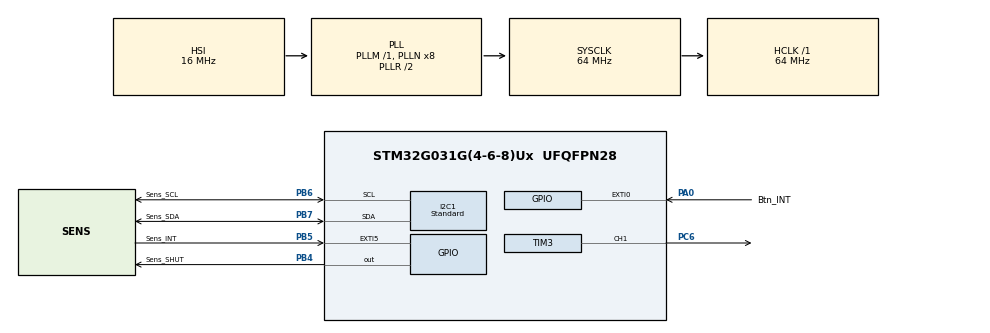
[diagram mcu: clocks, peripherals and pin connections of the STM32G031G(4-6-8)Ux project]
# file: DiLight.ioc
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I2C1.I2C_Speed_Mode=I2C_Standard
I2C1.Timing=0x10707DBC
Mcu.Family=STM32G0
Mcu.Name=STM32G031G(4-6-8)Ux
Mcu.Package=UFQFPN28
NVIC.EXTI0_1_IRQn=true\:0\:0\:false\:false\:true\:true\:true\:true
NVIC.EXTI4_15_IRQn=true\:0\:0\:false\:false\:true\:true\:true\:true
NVIC.TIM16_IRQn=true\:0\:0\:false\:false\:true\:true\:true\:true
NVIC.TIM17_IRQn=true\:0\:0\:false\:false\:true\:true\:true\:true
PA0.GPIO_Label=Btn_INT
PA0.GPIO_ModeDefaultEXTI=GPIO_MODE_IT_RISING_FALLING
PA0.Signal=GPXTI0
PA13.Mode=Serial_Wire
PA13.Signal=SYS_SWDIO
PA14-BOOT0.Mode=Serial_Wire
PA14-BOOT0.Signal=SYS_SWCLK
PB4.GPIO_Label=Sens_SHUT
PB4.GPIO_PuPd=GPIO_PULLUP
PB4.GPIO_Speed=GPIO_SPEED_FREQ_HIGH
PB4.PinState=GPIO_PIN_SET
PB4.Signal=GPIO_Output
PB5.GPIO_Label=Sens_INT
PB5.GPIO_ModeDefaultEXTI=GPIO_MODE_IT_FALLING
PB5.Signal=GPXTI5
PB6.GPIO_Label=Sens_SCL
PB6.Mode=I2C
PB6.Signal=I2C1_SCL
PB7.GPIO_Label=Sens_SDA
PB7.Mode=I2C
PB7.Signal=I2C1_SDA
PC6.Signal=S_TIM3_CH1
ProjectManager.HeapSize=0x200
ProjectManager.StackSize=0x400
ProjectManager.TargetToolchain=STM32CubeIDE
RCC.ADCFreq_Value=64000000
RCC.AHBFreq_Value=64000000
RCC.CortexFreq_Value=64000000
RCC.EXTERNAL_CLOCK_VALUE=12288000
RCC.HCLKFreq_Value=64000000
RCC.HSE_VALUE=8000000
RCC.HSI_VALUE=16000000
RCC.LSE_VALUE=32768
RCC.SYSCLKFreq_VALUE=64000000
RCC.SYSCLKSource=RCC_SYSCLKSOURCE_PLLCLK
RCC.VCOOutputFreq_Value=128000000
SH.S_TIM3_CH1.0=TIM3_CH1,PWM Generation1 CH1
TIM16.Period=10000-1
TIM16.Prescaler=640-1
TIM17.AutoReloadPreload=TIM_AUTORELOAD_PRELOAD_ENABLE
TIM17.Period=3000-1
TIM17.Prescaler=320-1
TIM3.Channel-PWM\ Generation1\ CH1=TIM_CHANNEL_1
TIM3.Period=100-1
TIM3.Prescaler=20-1
TIM3.Pulse-PWM\ Generation1\ CH1=0
VP_CRC_VS_CRC.Mode=CRC_Activate
VP_TIM16_VS_ClockSourceINT.Mode=Enable_Timer
VP_TIM17_VS_ClockSourceINT.Mode=Enable_Timer
VP_TIM3_VS_ClockSourceINT.Mode=Internal
board=custom

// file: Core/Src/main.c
/* USER CODE BEGIN Header */
/**
  ******************************************************************************
  * @file           : main.c
  * @brief          : Main program body
  ******************************************************************************
  * @attention
  *
  * Copyright (c) 2022 STMicroelectronics.
  * All rights reserved.
  *
  * This software is licensed under terms that can be found in the LICENSE file
  * in the root directory of this software component.
  * If no LICENSE file comes with this software, it is provided AS-IS.
  *
  ******************************************************************************
  */
/* USER CODE END Header */
#include "main.h"

/* USER CODE BEGIN Includes */
#include "string.h"
#include "stdio.h"
#include "VL53L0X.h"
/* USER CODE END Includes */

/* USER CODE BEGIN PTD */

//Configuration structure to keep in last (31) page of FLASH
typedef struct {
	uint32_t token;			//CONF_TOKEN
	uint16_t dist_on;		//distance to turn on lights
	uint16_t dist_off;	//distance to turn off lights
} conf_t;
struct FLASH_sector {
	uint8_t  data[8];		//Config data
	uint32_t counter;		//Configuration write counter
	uint32_t checksum;	//Checksum to verify saved data
};

typedef enum DLMode_t_enum {
	DL_normal = 0,
	DL_manual_on,
	DL_manual_off,
	DL_need_config,
	DL_config_waiting,
	DL_config_accepted,
	DL_error
} DLMode_t;

/* USER CODE END PTD */

/* USER CODE BEGIN PD */

#define DEFAULT_DIST_ON		500											//Default lights on distance
#define DEFAULT_DIST_OFF	1000										//Default lights off distance
#define MIN_DIST_GAP			100											//Min gap between on and off distances
#define MAX_DIST					1400										//Max distance that could be reliably measured by the sensor

#define CONF_TOKEN				0x000A0200							//32bit token to check the configuration struct in the FLASH (000A - DiLight; rev2.0)
#define CONF_FLASH_ADDR 	((uint32_t)0x0800F800)	//FLASH address of the page to save configuration to
#define CONF_FLASH_PAGE 	31											//FLASH page number (from 0 to PgCount-1)

/* USER CODE END PD */

CRC_HandleTypeDef hcrc;

I2C_HandleTypeDef hi2c1;

TIM_HandleTypeDef htim3;
TIM_HandleTypeDef htim16;
TIM_HandleTypeDef htim17;

/* USER CODE BEGIN PV */

//volatile const uint8_t config_flash[1024 * 2] __attribute__((__section__(".conf_data")));

union FLASH_conf {
	  conf_t config;
	  struct FLASH_sector sector;
	  uint32_t data32[4];
	  uint64_t data64[2];
} configuration;
#define FLASH_CONF_SIZE 16

uint8_t  TOF_Ready = 0;							// Flag to ignore TOF IRQ before it is initialized
uint8_t  curLightLevel = 0;					// Current light level (0-99)
uint16_t curDist = 0;								// Current measured distance in mm
uint16_t btn_ticks;									// How many ticks the button is pressed (1 tick = 100ms)
int8_t   dLevel = 1;								// Direction of fade: -1 for fade out; 1 for fade in;
DLMode_t DLmode = DL_normal;				// Global mode: DL_normal, DL_manual_on, DL_manual_off, DL_need_config, DL_config_waiting, DL_config_accepted, DL_error
DLMode_t prev_mode = DL_normal;			// To hold the mode during temporary mode switches
uint8_t  modeSwitch = 0;						// Flag to switch the mode after the button tap

/* USER CODE END PV */

void SystemClock_Config(void);
static void MX_GPIO_Init(void);
static void MX_I2C1_Init(void);
static void MX_TIM3_Init(void);
static void MX_TIM17_Init(void);
static void MX_CRC_Init(void);
static void MX_TIM16_Init(void);
/* USER CODE BEGIN PFP */

volatile void loadConfig(void);							// Load configuration from the FLASH memory
volatile void saveConfig(void);							// Save configuration to the FLASH memory
volatile void setLightLevel(uint8_t level);	// Set the lights level (brightness) 0 - 99
void fastBlink(uint8_t count);							// Fast blink LEDs `count` times
void configure(void);												// Range configuration procedure (set on and off ranges)

/* USER CODE END PFP */

/* USER CODE BEGIN 0 */

//load configuration from FLASH
volatile void loadConfig(void) {
	uint32_t l_Address = CONF_FLASH_ADDR;
	uint32_t l_Index = 0;

	//Reading from FLASH
	while (l_Address < (CONF_FLASH_ADDR + FLASH_CONF_SIZE)) {
	  configuration.data64[l_Index] = *(__IO uint64_t *)l_Address;
	  l_Index += 1;
	  l_Address += 8;
	}

	//Calculate a hash from the configuration
	if (HAL_CRC_Calculate(&hcrc, configuration.data32, 2) != configuration.sector.checksum
			|| configuration.config.token != CONF_TOKEN) {
		//First start or configuration is corrupted
		saveConfig();  //Save dafault config
	} // else successfully read the configuration

}

//save configuration to FLASH
volatile void saveConfig(void) {
  static FLASH_EraseInitTypeDef EraseInitStruct;
  uint32_t l_Address = CONF_FLASH_ADDR;
  uint32_t l_Index = 0;
  uint32_t l_Error = 0;

  //We need it to erase a page
  EraseInitStruct.TypeErase = FLASH_TYPEERASE_PAGES;
  EraseInitStruct.Page      = CONF_FLASH_PAGE;
  EraseInitStruct.NbPages   = 1;

  if (configuration.config.token != CONF_TOKEN) {
	  //first start
	  //Nullify the struct
	  memset(configuration.data64, 0, sizeof(configuration.data64));
	  //set default values
	  configuration.config.token = CONF_TOKEN;
	  configuration.config.dist_on = DEFAULT_DIST_ON;
	  configuration.config.dist_off = DEFAULT_DIST_OFF;

	  configuration.sector.counter = 0;
  }

  // Check if the distances are good.
  // (1 max distance is respected. 2 min gap between on and off distances is respected)
  if (configuration.config.dist_off > MAX_DIST) configuration.config.dist_off = MAX_DIST;
  if (configuration.config.dist_off < MIN_DIST_GAP) configuration.config.dist_off = MIN_DIST_GAP;
  if (configuration.config.dist_on > configuration.config.dist_off - MIN_DIST_GAP) configuration.config.dist_on = configuration.config.dist_off - MIN_DIST_GAP;
  configuration.sector.counter += 1;
  configuration.sector.checksum = HAL_CRC_Calculate(&hcrc, configuration.data32, 2);

  HAL_FLASH_Unlock();															//Unlock the FLASH
  HAL_FLASHEx_Erase(&EraseInitStruct, &l_Error);	//Erase the page

  // Programming the config

  while (l_Address < (CONF_FLASH_ADDR + FLASH_CONF_SIZE)) {
	  if  (HAL_FLASH_Program(FLASH_TYPEPROGRAM_DOUBLEWORD, l_Address, configuration.data64[l_Index]) == HAL_OK) {
		  l_Index += 1;
		  l_Address += 8;
	  }
  }
  HAL_FLASH_Lock();
  HAL_Delay(50);
}

// Fast blink LEDs `count` times
void fastBlink(uint8_t count) {
	uint8_t i, pll;

	pll = curLightLevel;
	setLightLevel(0);
	for (i = 0; i < count; i++) {
		setLightLevel(99);
		HAL_Delay(80);
		setLightLevel(0);
		HAL_Delay(80);
	}
	setLightLevel(pll);
}

// Range configuration procedure (set on and off ranges)
void configure(void) {
	DLmode = DL_config_waiting;

	//Fast blink 5 times
	fastBlink(5);

	//Configure ON distance
	while (DLmode == DL_config_waiting) {
		HAL_Delay(250);
		if (curDist > MAX_DIST - MIN_DIST_GAP) setLightLevel(0);
		// (x - in_min) * (out_max - out_min) / (in_max - in_min) + out_min
		// (x - 0) * (50 - 0) / (1400 - 0) + 0
		// x * 50 / 1400
		// (99 - curDist * 99 / 2000)     //old version
		else setLightLevel((uint8_t)(50 - curDist * 50 / (MAX_DIST - MIN_DIST_GAP)));		// Map light level to the distance
	}
	configuration.config.dist_on = curDist;			// this will be checked during config save

	//Fast blink 2 times
	DLmode = DL_config_waiting;
	fastBlink(2);

	//Configure OFF distance
	while (DLmode == DL_config_waiting) {
		HAL_Delay(250);
		if (curDist > MAX_DIST) setLightLevel(0);
		else setLightLevel((uint8_t)(50 - curDist * 50 / MAX_DIST));		// Map light level to the distance
	}
	configuration.config.dist_off = curDist;		// this will be checked during config save

  saveConfig();

	//Fast blink 5 times
  fastBlink(5);
}

/* USER CODE END 0 */

int main(void)
{

  /* MCU Configuration--------------------------------------------------------*/

  /* Reset of all peripherals, Initializes the Flash interface and the Systick. */
  HAL_Init();

  /* Configure the system clock */
  SystemClock_Config();

  /* Initialize all configured peripherals */
  MX_GPIO_Init();
  MX_I2C1_Init();
  MX_TIM3_Init();
  MX_TIM17_Init();
  MX_CRC_Init();
  MX_TIM16_Init();
  /* USER CODE BEGIN 2 */

  // TIM3  - PWM timer
  // TIM16 - ticks timer (10Hz - 100ms)
  // TIM17 - timer for light fading

  loadConfig();

  // Set IO timeout for range sensor
  setTimeout(250);

  TOF_Ready = initVL53L0X(1);
  if (TOF_Ready) {
		// lower the return signal rate limit (default is 0.25 MCPS)
		// setSignalRateLimit(0.1);
		// increase laser pulse periods (defaults are 14 and 10 PCLKs)
		// setVcselPulsePeriod(VcselPeriodPreRange, 18);
		// setVcselPulsePeriod(VcselPeriodFinalRange, 14);
		setMeasurementTimingBudget( 500 * 1000UL );		// integrate over 500 ms per measurement

		// Start measurements every second
		startContinuous(1000);
  }
  HAL_TIM_PWM_Start(&htim3, TIM_CHANNEL_1);

  // Fast-blink 10 times to indicate range sensor error
	if (!TOF_Ready) {
		fastBlink(10);
	}

  /* USER CODE END 2 */

  /* Infinite loop */
  /* USER CODE BEGIN WHILE */
  while (1)
  {
  	if (DLmode == DL_need_config) {
  		configure();
  		DLmode = prev_mode;
  	}

  	// Check if the button was tapped and we should switch the mode
  	if (modeSwitch) {
  		modeSwitch = 0;
  		switch (DLmode) {
				case DL_normal:
					DLmode = DL_manual_on;
					fastBlink(1);
					dLevel = 2;
					HAL_TIM_Base_Start_IT(&htim17);
					break;
				case DL_manual_on:
					DLmode = DL_manual_off;
					fastBlink(1);
					dLevel = -1;
					HAL_TIM_Base_Start_IT(&htim17);
					break;
				case DL_manual_off:
					DLmode = DL_normal;
					fastBlink(2);
					break;
				default:
					break;
			}
		}

  	HAL_Delay(50);
    /* USER CODE END WHILE */

  }
}

void SystemClock_Config(void)
{
  RCC_OscInitTypeDef RCC_OscInitStruct = {0};
  RCC_ClkInitTypeDef RCC_ClkInitStruct = {0};

  /** Configure the main internal regulator output voltage
  */
  HAL_PWREx_ControlVoltageScaling(PWR_REGULATOR_VOLTAGE_SCALE1);

  /** Initializes the RCC Oscillators according to the specified parameters
  * in the RCC_OscInitTypeDef structure.
  */
  RCC_OscInitStruct.OscillatorType = RCC_OSCILLATORTYPE_HSI;
  RCC_OscInitStruct.HSIState = RCC_HSI_ON;
  RCC_OscInitStruct.HSIDiv = RCC_HSI_DIV1;
  RCC_OscInitStruct.HSICalibrationValue = RCC_HSICALIBRATION_DEFAULT;
  RCC_OscInitStruct.PLL.PLLState = RCC_PLL_ON;
  RCC_OscInitStruct.PLL.PLLSource = RCC_PLLSOURCE_HSI;
  RCC_OscInitStruct.PLL.PLLM = RCC_PLLM_DIV1;
  RCC_OscInitStruct.PLL.PLLN = 8;
  RCC_OscInitStruct.PLL.PLLP = RCC_PLLP_DIV2;
  RCC_OscInitStruct.PLL.PLLQ = RCC_PLLQ_DIV2;
  RCC_OscInitStruct.PLL.PLLR = RCC_PLLR_DIV2;
  if (HAL_RCC_OscConfig(&RCC_OscInitStruct) != HAL_OK)
  {
    Error_Handler();
  }

  /** Initializes the CPU, AHB and APB buses clocks
  */
  RCC_ClkInitStruct.ClockType = RCC_CLOCKTYPE_HCLK|RCC_CLOCKTYPE_SYSCLK
                              |RCC_CLOCKTYPE_PCLK1;
  RCC_ClkInitStruct.SYSCLKSource = RCC_SYSCLKSOURCE_PLLCLK;
  RCC_ClkInitStruct.AHBCLKDivider = RCC_SYSCLK_DIV1;
  RCC_ClkInitStruct.APB1CLKDivider = RCC_HCLK_DIV1;

  if (HAL_RCC_ClockConfig(&RCC_ClkInitStruct, FLASH_LATENCY_2) != HAL_OK)
  {
    Error_Handler();
  }
}

static void MX_CRC_Init(void)
{

  hcrc.Instance = CRC;
  hcrc.Init.DefaultPolynomialUse = DEFAULT_POLYNOMIAL_ENABLE;
  hcrc.Init.DefaultInitValueUse = DEFAULT_INIT_VALUE_ENABLE;
  hcrc.Init.InputDataInversionMode = CRC_INPUTDATA_INVERSION_NONE;
  hcrc.Init.OutputDataInversionMode = CRC_OUTPUTDATA_INVERSION_DISABLE;
  hcrc.InputDataFormat = CRC_INPUTDATA_FORMAT_BYTES;
  if (HAL_CRC_Init(&hcrc) != HAL_OK)
  {
    Error_Handler();
  }

}

static void MX_I2C1_Init(void)
{

  hi2c1.Instance = I2C1;
  hi2c1.Init.Timing = 0x10707DBC;
  hi2c1.Init.OwnAddress1 = 0;
  hi2c1.Init.AddressingMode = I2C_ADDRESSINGMODE_7BIT;
  hi2c1.Init.DualAddressMode = I2C_DUALADDRESS_DISABLE;
  hi2c1.Init.OwnAddress2 = 0;
  hi2c1.Init.OwnAddress2Masks = I2C_OA2_NOMASK;
  hi2c1.Init.GeneralCallMode = I2C_GENERALCALL_DISABLE;
  hi2c1.Init.NoStretchMode = I2C_NOSTRETCH_DISABLE;
  if (HAL_I2C_Init(&hi2c1) != HAL_OK)
  {
    Error_Handler();
  }

  /** Configure Analogue filter
  */
  if (HAL_I2CEx_ConfigAnalogFilter(&hi2c1, I2C_ANALOGFILTER_ENABLE) != HAL_OK)
  {
    Error_Handler();
  }

  /** Configure Digital filter
  */
  if (HAL_I2CEx_ConfigDigitalFilter(&hi2c1, 0) != HAL_OK)
  {
    Error_Handler();
  }

}

static void MX_TIM3_Init(void)
{

  TIM_ClockConfigTypeDef sClockSourceConfig = {0};
  TIM_MasterConfigTypeDef sMasterConfig = {0};
  TIM_OC_InitTypeDef sConfigOC = {0};

  htim3.Instance = TIM3;
  htim3.Init.Prescaler = 20-1;
  htim3.Init.CounterMode = TIM_COUNTERMODE_UP;
  htim3.Init.Period = 100-1;
  htim3.Init.ClockDivision = TIM_CLOCKDIVISION_DIV1;
  htim3.Init.AutoReloadPreload = TIM_AUTORELOAD_PRELOAD_DISABLE;
  if (HAL_TIM_Base_Init(&htim3) != HAL_OK)
  {
    Error_Handler();
  }
  sClockSourceConfig.ClockSource = TIM_CLOCKSOURCE_INTERNAL;
  if (HAL_TIM_ConfigClockSource(&htim3, &sClockSourceConfig) != HAL_OK)
  {
    Error_Handler();
  }
  if (HAL_TIM_PWM_Init(&htim3) != HAL_OK)
  {
    Error_Handler();
  }
  sMasterConfig.MasterOutputTrigger = TIM_TRGO_RESET;
  sMasterConfig.MasterSlaveMode = TIM_MASTERSLAVEMODE_DISABLE;
  if (HAL_TIMEx_MasterConfigSynchronization(&htim3, &sMasterConfig) != HAL_OK)
  {
    Error_Handler();
  }
  sConfigOC.OCMode = TIM_OCMODE_PWM1;
  sConfigOC.Pulse = 0;
  sConfigOC.OCPolarity = TIM_OCPOLARITY_HIGH;
  sConfigOC.OCFastMode = TIM_OCFAST_DISABLE;
  if (HAL_TIM_PWM_ConfigChannel(&htim3, &sConfigOC, TIM_CHANNEL_1) != HAL_OK)
  {
    Error_Handler();
  }
  HAL_TIM_MspPostInit(&htim3);

}

static void MX_TIM16_Init(void)
{

  htim16.Instance = TIM16;
  htim16.Init.Prescaler = 640-1;
  htim16.Init.CounterMode = TIM_COUNTERMODE_UP;
  htim16.Init.Period = 10000-1;
  htim16.Init.ClockDivision = TIM_CLOCKDIVISION_DIV1;
  htim16.Init.RepetitionCounter = 0;
  htim16.Init.AutoReloadPreload = TIM_AUTORELOAD_PRELOAD_DISABLE;
  if (HAL_TIM_Base_Init(&htim16) != HAL_OK)
  {
    Error_Handler();
  }

}

static void MX_TIM17_Init(void)
{

  htim17.Instance = TIM17;
  htim17.Init.Prescaler = 320-1;
  htim17.Init.CounterMode = TIM_COUNTERMODE_UP;
  htim17.Init.Period = 3000-1;
  htim17.Init.ClockDivision = TIM_CLOCKDIVISION_DIV1;
  htim17.Init.RepetitionCounter = 0;
  htim17.Init.AutoReloadPreload = TIM_AUTORELOAD_PRELOAD_ENABLE;
  if (HAL_TIM_Base_Init(&htim17) != HAL_OK)
  {
    Error_Handler();
  }

}

static void MX_GPIO_Init(void)
{
  GPIO_InitTypeDef GPIO_InitStruct = {0};

  /* GPIO Ports Clock Enable */
  __HAL_RCC_GPIOA_CLK_ENABLE();
  __HAL_RCC_GPIOC_CLK_ENABLE();
  __HAL_RCC_GPIOB_CLK_ENABLE();

  /*Configure GPIO pin Output Level */
  HAL_GPIO_WritePin(Sens_SHUT_GPIO_Port, Sens_SHUT_Pin, GPIO_PIN_SET);

  /*Configure GPIO pin : Btn_INT_Pin */
  GPIO_InitStruct.Pin = Btn_INT_Pin;
  GPIO_InitStruct.Mode = GPIO_MODE_IT_RISING_FALLING;
  GPIO_InitStruct.Pull = GPIO_NOPULL;
  HAL_GPIO_Init(Btn_INT_GPIO_Port, &GPIO_InitStruct);

  /*Configure GPIO pin : Sens_SHUT_Pin */
  GPIO_InitStruct.Pin = Sens_SHUT_Pin;
  GPIO_InitStruct.Mode = GPIO_MODE_OUTPUT_PP;
  GPIO_InitStruct.Pull = GPIO_PULLUP;
  GPIO_InitStruct.Speed = GPIO_SPEED_FREQ_HIGH;
  HAL_GPIO_Init(Sens_SHUT_GPIO_Port, &GPIO_InitStruct);

  /*Configure GPIO pin : Sens_INT_Pin */
  GPIO_InitStruct.Pin = Sens_INT_Pin;
  GPIO_InitStruct.Mode = GPIO_MODE_IT_FALLING;
  GPIO_InitStruct.Pull = GPIO_NOPULL;
  HAL_GPIO_Init(Sens_INT_GPIO_Port, &GPIO_InitStruct);

  /* EXTI interrupt init*/
  HAL_NVIC_SetPriority(EXTI0_1_IRQn, 0, 0);
  HAL_NVIC_EnableIRQ(EXTI0_1_IRQn);

  HAL_NVIC_SetPriority(EXTI4_15_IRQn, 0, 0);
  HAL_NVIC_EnableIRQ(EXTI4_15_IRQn);

}

/* USER CODE BEGIN 4 */

volatile void setLightLevel(uint8_t level) {
	if (level > 99) level = 99;
	curLightLevel = level;

	TIM3->CCR1 = curLightLevel;
}

void HAL_GPIO_EXTI_Rising_Callback(uint16_t GPIO_Pin) {
	// Start counting "ticks" when the sense-button is pressed
	if (GPIO_Pin == Btn_INT_Pin) {
		btn_ticks = 0;
		HAL_TIM_Base_Start_IT(&htim16);
	}
}

void HAL_GPIO_EXTI_Falling_Callback(uint16_t GPIO_Pin) {
	uint16_t dist;

	// Range sensor interrupt (measurement is done)
	if (TOF_Ready && GPIO_Pin == Sens_INT_Pin) {
		dist = readRangeContinuousMillimeters(0);
		if (dist < MAX_DIST)	curDist = dist;
		else curDist = MAX_DIST;
		if (DLmode == DL_normal) {
			if (curDist <= configuration.config.dist_on && curLightLevel < 90) {
				//Turn on the lights
				dLevel = 2;
				HAL_TIM_Base_Start_IT(&htim17);
			}
			if (curDist >= configuration.config.dist_off && curLightLevel == 99) {
				//Turn off the lights
				dLevel = -1;
				HAL_TIM_Base_Start_IT(&htim17);
			}
		}
	}

	// The sense-button is released
	if (GPIO_Pin == Btn_INT_Pin) {
		HAL_TIM_Base_Stop_IT(&htim16);
		if (btn_ticks < 60) {
			// Button was not held for more than 6 seconds
			if (DLmode == DL_config_waiting) {
				DLmode = DL_config_accepted;
			} else {
				modeSwitch = 1;
			}
		}
	}
}

void HAL_TIM_PeriodElapsedCallback(TIM_HandleTypeDef *htim) {
	if(htim->Instance == TIM16) { //check if the interrupt comes from TIM16   // TIM16 - ticks timer (10Hz - 100ms)
		if (btn_ticks < 60) {
			btn_ticks++;
		} else {
			// the button is held for more than 6 seconds
			HAL_TIM_Base_Stop_IT(&htim16);
			prev_mode = DLmode;
			DLmode = DL_need_config;
		}
	}

	// Fade-in / fade-out animation
	if(htim->Instance == TIM17) { //check if the interrupt comes from TIM17  // TIM17 - timer for light fading
		if ((curLightLevel >= 99 && dLevel > 0) || (curLightLevel == 0 && dLevel < 0)) {
			HAL_TIM_Base_Stop_IT(&htim17);
		} else {
			curLightLevel += dLevel;
			setLightLevel(curLightLevel);
		}
	}
}

/* USER CODE END 4 */

void Error_Handler(void)
{
  __disable_irq();
  while (1)
  {
  }
}
